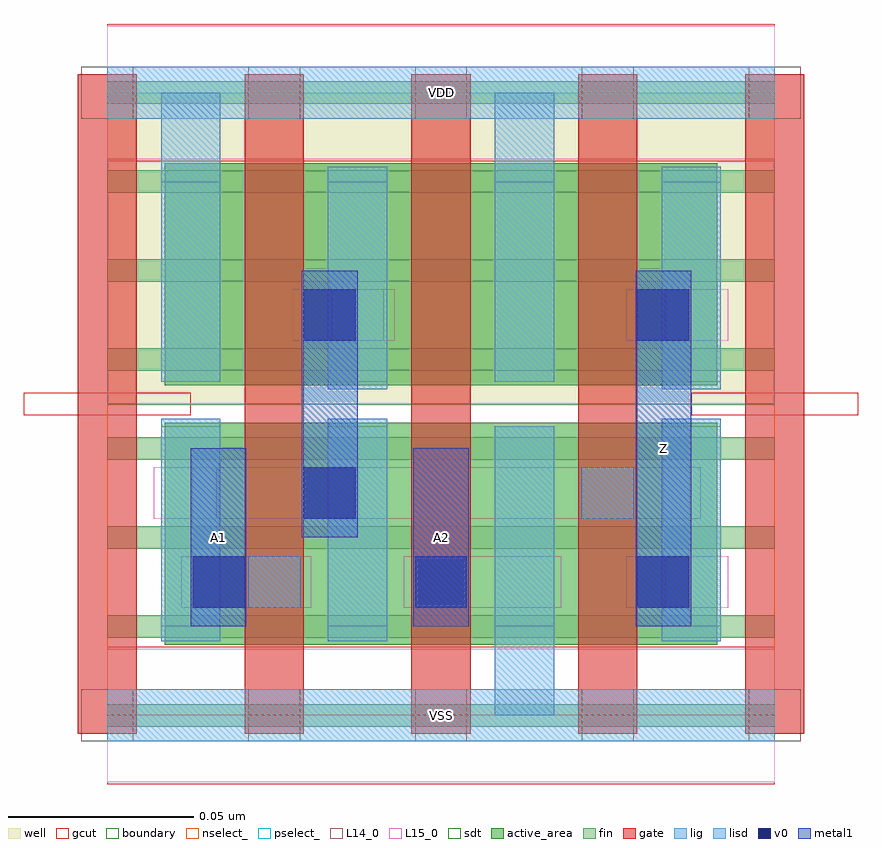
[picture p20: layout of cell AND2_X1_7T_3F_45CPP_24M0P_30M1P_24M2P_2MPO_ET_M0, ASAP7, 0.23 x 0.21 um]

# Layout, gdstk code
import gdstk
lib = gdstk.Library(unit=1e-6, precision=2.5e-10)
def R(c, l, rs):  # rectangles x0, y0, x1, y1
    for r in rs: c.add(gdstk.rectangle(r[:2], r[2:], *l))
def A(c, l, x, y, w, h, nx, ny, dx, dy):  # array of equal rectangles
    R(c, l, [(x+i*dx, y+j*dy, x+i*dx+w, y+j*dy+h) for i in range(nx) for j in range(ny)])
well = (1, 0)
fin = (2, 0)
gate = (7, 0)
gcut = (10, 0)
active_area = (11, 0)
nselect_ = (12, 0)
pselect_ = (13, 0)
L14_0 = (14, 0)
L15_0 = (15, 0)
lig = (16, 0)
lisd = (17, 0)
v0 = (18, 0)
metal1 = (19, 0)
sdt = (88, 0)
boundary = (100, 0)

and2_x1_7t_3f_45cpp_24m0 = lib.new_cell('AND2_X1_7T_3F_45CPP_24M0P_30M1P_24M2P_2MPO_ET_M0')
R(and2_x1_7t_3f_45cpp_24m0, well, [(0,0.084,0.18,0.168)])
A(and2_x1_7t_3f_45cpp_24m0, fin, 0, -0.003, 0.18, 0.006, 1, 8, 0, 0.024)
A(and2_x1_7t_3f_45cpp_24m0, gate, -0.008, -0.005, 0.016, 0.178, 5, 1, 0.045, 0)
R(and2_x1_7t_3f_45cpp_24m0, gcut, [(0,-0.0185,0.18,0.0185), (-0.0225,0.081,0.0225,0.087), (0.1575,0.081,0.2025,0.087), (0,0.1495,0.18,0.1865)])
A(and2_x1_7t_3f_45cpp_24m0, active_area, 0.0155, 0.019, 0.059, 0.06, 3, 2, 0.045, 0.07)
R(and2_x1_7t_3f_45cpp_24m0, nselect_, [(0,0,0.18,0.084)])
R(and2_x1_7t_3f_45cpp_24m0, pselect_, [(0,0.084,0.18,0.168)])
A(and2_x1_7t_3f_45cpp_24m0, L14_0, -0.007, -0.007, 0.014, 0.014, 5, 2, 0.045, 0.168)
R(and2_x1_7t_3f_45cpp_24m0, L14_0, [(0.038,0.029,0.052,0.043), (0.083,0.029,0.097,0.043), (0.1505,0.029,0.1645,0.043), (0.0155,0.053,0.0295,0.067), (0.128,0.053,0.142,0.067), (0.0605,0.101,0.0745,0.115), (0.1505,0.101,0.1645,0.115)])
R(and2_x1_7t_3f_45cpp_24m0, L15_0, [(0,-0.018,0.18,0.018), (0.02,0.029,0.055,0.043), (0.08,0.029,0.1225,0.043), (0.14,0.029,0.1675,0.043), (0.0125,0.053,0.16,0.067), (0.05,0.101,0.0775,0.115), (0.14,0.101,0.1675,0.115), (0,0.15,0.18,0.186)])
R(and2_x1_7t_3f_45cpp_24m0, lig, [(0,-0.007,0.18,0.007), (0.038,0.029,0.052,0.043), (0.083,0.029,0.097,0.043), (0.128,0.053,0.142,0.067), (0,0.161,0.18,0.175)])
R(and2_x1_7t_3f_45cpp_24m0, lisd, [(0.1045,0,0.1205,0.078), (0.0145,0.02,0.0305,0.08), (0.0595,0.02,0.0755,0.08), (0.1495,0.02,0.1655,0.08), (0.0595,0.088,0.0755,0.148), (0.1495,0.088,0.1655,0.148), (0.0145,0.09,0.0305,0.168), (0.1045,0.09,0.1205,0.168)])
A(and2_x1_7t_3f_45cpp_24m0, v0, 0.023, 0.029, 0.014, 0.014, 3, 1, 0.06, 0)
R(and2_x1_7t_3f_45cpp_24m0, v0, [(0.053,0.053,0.067,0.067), (0.053,0.101,0.067,0.115), (0.143,0.101,0.157,0.115)])
R(and2_x1_7t_3f_45cpp_24m0, metal1, [(0.0225,0.024,0.0375,0.072), (0.0825,0.024,0.0975,0.072), (0.1425,0.024,0.1575,0.12), (0.0525,0.048,0.0675,0.12)])
A(and2_x1_7t_3f_45cpp_24m0, sdt, 0.0145, 0.024, 0.016, 0.054, 4, 2, 0.045, 0.066)
R(and2_x1_7t_3f_45cpp_24m0, boundary, [(0,0,0.18,0.168)])
and2_x1_7t_3f_45cpp_24m0.add(gdstk.Label('Z', (0.15,0.072), layer=19, texttype=251))
and2_x1_7t_3f_45cpp_24m0.add(gdstk.Label('A1', (0.03,0.048), layer=19, texttype=251))
and2_x1_7t_3f_45cpp_24m0.add(gdstk.Label('A2', (0.09,0.048), layer=19, texttype=251))
and2_x1_7t_3f_45cpp_24m0.add(gdstk.Label('VDD', (0.09,0.168), layer=15, texttype=251))
and2_x1_7t_3f_45cpp_24m0.add(gdstk.Label('VSS', (0.09,0), layer=15, texttype=251))
and2_x1_7t_3f_45cpp_24m0.add(gdstk.Label('VDD', (0.09,0.168), layer=1, texttype=251))
and2_x1_7t_3f_45cpp_24m0.add(gdstk.Label('VSS', (0.09,0), layer=3, texttype=251))

lib.write_gds('AND2_X1_7T_3F_45CPP_24M0P_30M1P_24M2P_2MPO_ET_M0.gds')
